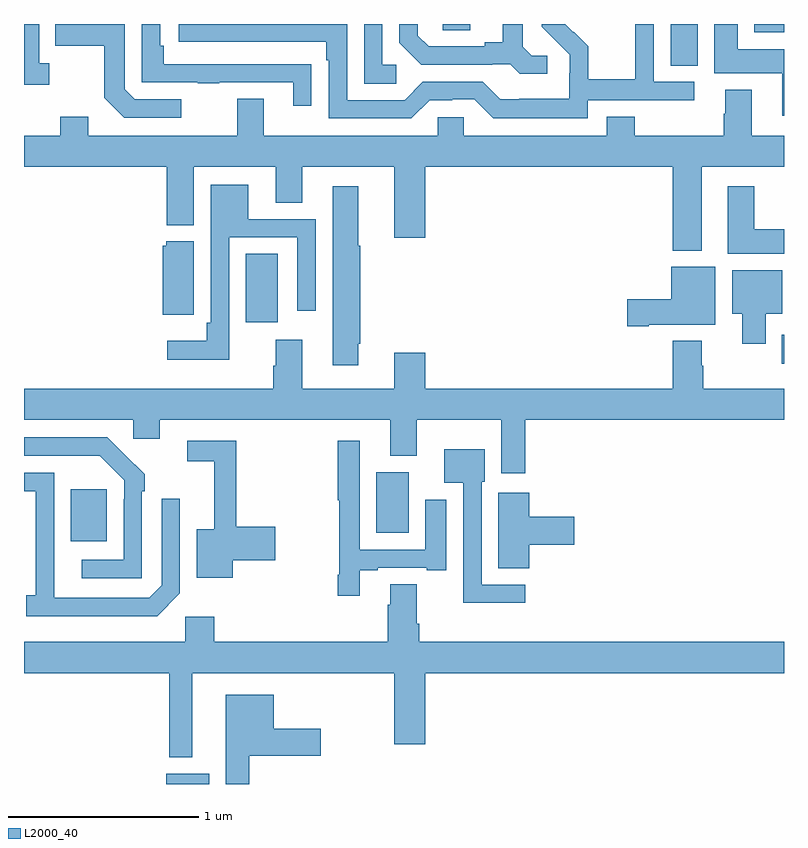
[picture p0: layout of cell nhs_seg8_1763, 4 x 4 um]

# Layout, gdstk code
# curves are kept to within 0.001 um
import gdstk
lib = gdstk.Library(unit=1e-6, precision=1e-09)
def R(c, l, rs):  # rectangles x0, y0, x1, y1
    for r in rs: c.add(gdstk.rectangle(r[:2], r[2:], *l))
def P(c, l, *ps):  # polygons
    for p in ps: c.add(gdstk.Polygon(p, *l))
L2000_40 = (2000, 40)

nhs_seg8_1763 = lib.new_cell('nhs_seg8_1763')
R(nhs_seg8_1763, L2000_40, [(223.748,1131.9,223.975,1131.955), (223.247,1133.177,223.435,1133.452), (224.855,1133.222,225.025,1133.542), (226.988,1134.113,227,1134.265), (224.168,1134.33,224.335,1134.692), (226.403,1135.681,226.546,1135.9), (226.844,1135.856,227,1135.9), (225.204,1135.867,225.349,1135.9)])
P(nhs_seg8_1763, L2000_40, [(224.959,1135.686),(224.886,1135.686),(224.886,1135.9),(224.79,1135.9),(224.79,1135.585),(224.959,1135.585)],
  [(225.966,1135.5),(226.528,1135.5),(226.528,1135.596),(226.314,1135.596),(226.314,1135.9),(226.218,1135.9),(226.218,1135.832),(226.216,1135.832),(226.216,1135.609),(225.971,1135.609),(225.971,1135.783),(225.894,1135.86),(225.891,1135.857),(225.849,1135.9),(225.726,1135.9),(225.726,1135.886),(225.872,1135.738),(225.872,1135.641),(225.87,1135.641),(225.87,1135.507),(225.607,1135.507),(225.607,1135.503),(225.507,1135.503),(225.414,1135.596),(225.099,1135.596),(225.003,1135.5),(224.7,1135.5),(224.7,1135.9),(223.815,1135.9),(223.815,1135.806),(224.591,1135.806),(224.591,1135.709),(224.604,1135.709),(224.604,1135.404),(225.039,1135.404),(225.135,1135.5),(225.254,1135.5),(225.254,1135.503),(225.369,1135.503),(225.469,1135.403),(225.966,1135.403)],
  [(224.513,1135.688),(224.411,1135.688),(224.411,1135.689),(223.736,1135.689),(223.736,1135.786),(223.716,1135.786),(223.716,1135.9),(223.62,1135.9),(223.62,1135.593),(223.915,1135.593),(223.915,1135.588),(224.027,1135.588),(224.027,1135.593),(224.417,1135.593),(224.417,1135.47),(224.513,1135.47)],
  [(223.828,1135.503),(223.584,1135.503),(223.53,1135.557),(223.53,1135.9),(223.165,1135.9),(223.165,1135.786),(223.422,1135.786),(223.422,1135.513),(223.527,1135.407),(223.828,1135.407)],
  [(223.132,1135.694),(223.08,1135.694),(223.08,1135.9),(223,1135.9),(223,1135.581),(223.132,1135.581)],
  [(227,1135.768),(226.756,1135.768),(226.756,1135.9),(226.634,1135.9),(226.634,1135.64),(226.991,1135.64),(226.991,1135.416),(227,1135.416)],
  [(225.754,1135.734),(225.672,1135.734),(225.625,1135.781),(225.625,1135.9),(225.521,1135.9),(225.521,1135.805),(225.425,1135.805),(225.425,1135.782),(225.13,1135.782),(225.073,1135.839),(225.073,1135.9),(224.976,1135.9),(224.976,1135.802),(225.092,1135.686),(225.464,1135.686),(225.464,1135.689),(225.558,1135.689),(225.61,1135.637),(225.754,1135.637)],
  [(226.567,1135.148),(227,1135.148),(227,1135.312),(226.831,1135.312),(226.831,1135.555),(226.691,1135.555),(226.691,1135.428),(226.684,1135.428),(226.684,1135.312),(226.215,1135.312),(226.215,1135.411),(226.067,1135.411),(226.067,1135.312),(225.315,1135.312),(225.315,1135.41),(225.177,1135.41),(225.177,1135.312),(224.263,1135.312),(224.263,1135.507),(224.123,1135.507),(224.123,1135.312),(223.339,1135.312),(223.339,1135.411),(223.192,1135.411),(223.192,1135.312),(223,1135.312),(223,1135.148),(223.751,1135.148),(223.751,1134.842),(223.894,1134.842),(223.894,1135.148),(224.324,1135.148),(224.324,1134.958),(224.464,1134.958),(224.464,1135.148),(224.948,1135.148),(224.948,1134.774),(225.112,1134.774),(225.112,1135.148),(226.415,1135.148),(226.415,1134.707),(226.567,1134.707)],
  [(224.079,1134.777),(224.439,1134.777),(224.439,1134.39),(224.535,1134.39),(224.535,1134.873),(224.179,1134.873),(224.179,1135.054),(223.983,1135.054),(223.983,1134.328),(223.963,1134.328),(223.963,1134.232),(223.755,1134.232),(223.755,1134.134),(224.079,1134.134)],
  [(224.758,1134.217),(224.771,1134.217),(224.771,1134.732),(224.758,1134.732),(224.758,1135.045),(224.624,1135.045),(224.624,1134.105),(224.758,1134.105)],
  [(227,1134.82),(226.843,1134.82),(226.843,1135.045),(226.703,1135.045),(226.703,1134.692),(227,1134.692)],
  [(223.894,1134.757),(223.749,1134.757),(223.749,1134.732),(223.73,1134.732),(223.73,1134.371),(223.894,1134.371)],
  [(226.288,1134.317),(226.639,1134.317),(226.639,1134.622),(226.406,1134.622),(226.406,1134.452),(226.176,1134.452),(226.176,1134.31),(226.288,1134.31)],
  [(226.903,1134.374),(226.99,1134.374),(226.99,1134.604),(226.727,1134.604),(226.727,1134.374),(226.781,1134.374),(226.781,1134.216),(226.903,1134.216)],
  [(225.638,1133.816),(227,1133.816),(227,1133.98),(226.575,1133.98),(226.575,1134.101),(226.567,1134.101),(226.567,1134.232),(226.415,1134.232),(226.415,1133.98),(225.112,1133.98),(225.112,1134.169),(224.948,1134.169),(224.948,1133.98),(224.464,1133.98),(224.464,1134.238),(224.324,1134.238),(224.324,1134.101),(224.312,1134.101),(224.312,1133.98),(223,1133.98),(223,1133.816),(223.575,1133.816),(223.575,1133.718),(223.714,1133.718),(223.714,1133.816),(224.927,1133.816),(224.927,1133.627),(225.067,1133.627),(225.067,1133.816),(225.512,1133.816),(225.512,1133.535),(225.638,1133.535)],
  [(223.62,1133.441),(223.635,1133.441),(223.635,1133.529),(223.438,1133.724),(223,1133.724),(223,1133.628),(223.399,1133.628),(223.527,1133.499),(223.527,1133.399),(223.524,1133.399),(223.524,1133.079),(223.305,1133.079),(223.305,1132.983),(223.62,1132.983)],
  [(224.767,1133.025),(224.863,1133.025),(224.863,1133.037),(225.119,1133.037),(225.119,1133.025),(225.223,1133.025),(225.223,1133.395),(225.113,1133.395),(225.113,1133.133),(224.766,1133.133),(224.766,1133.707),(224.65,1133.707),(224.65,1133.394),(224.658,1133.394),(224.658,1133.002),(224.65,1133.002),(224.65,1132.89),(224.767,1132.89)],
  [(224.098,1133.077),(224.323,1133.077),(224.323,1133.255),(224.117,1133.255),(224.117,1133.706),(223.86,1133.706),(223.86,1133.598),(224,1133.598),(224,1133.242),(223.91,1133.242),(223.91,1132.985),(224.098,1132.985)],
  [(225.637,1132.95),(225.408,1132.95),(225.408,1133.49),(225.424,1133.49),(225.424,1133.662),(225.212,1133.662),(225.212,1133.486),(225.312,1133.486),(225.312,1132.853),(225.637,1132.853)],
  [(223.821,1132.905),(223.821,1133.401),(223.725,1133.401),(223.725,1132.947),(223.659,1132.881),(223.159,1132.881),(223.158,1133.538),(223,1133.538),(223,1133.442),(223.062,1133.442),(223.062,1132.894),(223.011,1132.894),(223.011,1132.784),(223.7,1132.784)],
  [(225.659,1133.159),(225.895,1133.159),(225.895,1133.306),(225.659,1133.306),(225.659,1133.434),(225.497,1133.434),(225.497,1133.035),(225.659,1133.035)],
  [(223.885,1132.484),(224.948,1132.484),(224.948,1132.11),(225.112,1132.11),(225.112,1132.484),(227,1132.484),(227,1132.648),(225.08,1132.648),(225.08,1132.744),(225.067,1132.744),(225.067,1132.952),(224.927,1132.952),(224.927,1132.844),(224.915,1132.844),(224.915,1132.648),(224,1132.648),(224,1132.78),(223.848,1132.78),(223.848,1132.648),(223,1132.648),(223,1132.484),(223.764,1132.484),(223.764,1132.04),(223.885,1132.04)],
  [(224.185,1132.049),(224.563,1132.049),(224.563,1132.191),(224.314,1132.191),(224.314,1132.369),(224.063,1132.369),(224.063,1131.9),(224.185,1131.9)])

lib.write_gds('nhs_seg8_1763.gds')
